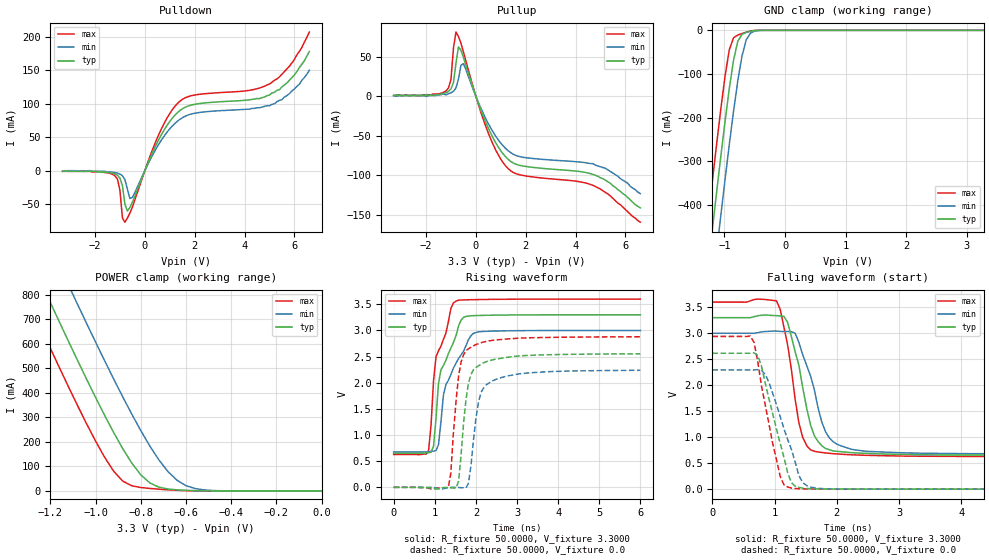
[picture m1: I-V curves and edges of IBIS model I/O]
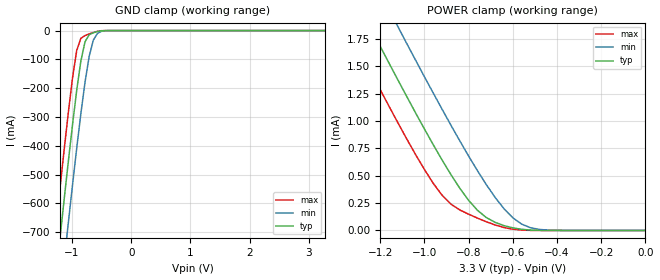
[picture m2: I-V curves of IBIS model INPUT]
| IBIS file created by s2ibis2 version 1.1
| North Carolina State University Electronics Research Laboratory  1995
[IBIS ver]   4.2
[File name]   42s16320f-86400f-32160f_t.ibs
[File Rev]   1.0
[Date]   May 20, 2014
[Copyright]   Copyright ISSI
|   COMPONENT: 32Mx16 SDRAM
[Component]  42s16320
[Manufacturer]  ISSI
[Package]
|   TSOP
| variable   typ   min   max
R_pkg   35.00m   35.00m   35.00m
L_pkg   4.30nH   4.30nH   4.30nH
C_pkg   0.70pF   0.70pF   0.70pF
[Pin]   signal_name   model_name
  1   VDD   POWER
  2   DQ0   I/O
  3   VDDQ   POWER
  4   DQ1   I/O
  5   DQ2   I/O
  6   VSSQ   GND
  7   DQ3   I/O
  8   DQ4   I/O
  9   VDDQ   POWER
 10   DQ5   I/O
 11   DQ6   I/O
 12   VSSQ   GND
 13   DQ7   I/O
 14   VDD   POWER
 15   LDQM   INPUT
 16   /WE   INPUT
 17   /CAS   INPUT
 18   /RAS   INPUT
 19   /CS   INPUT
 20   BA0   INPUT
 21   BA1   INPUT
 22   A10   INPUT
 23   A0   INPUT
 24   A1   INPUT
 25   A2   INPUT
 26   A3   INPUT
 27   VDD   POWER
 28   VSS   GND
 29   A4   INPUT
 30   A5   INPUT
 31   A6   INPUT
 32   A7   INPUT
 33   A8   INPUT
 34   A9   INPUT
 35   A11   INPUT
 36   A12   INPUT
 37   CKE   INPUT
 38   CLK   INPUT
 39   UDQM   INPUT
 40   NC   NC
 41   VSS   GND
 42   DQ8   I/O
 43   VDDQ   POWER
 44   DQ9   I/O
 45   DQ10   I/O
 46   VSSQ   GND
 47   DQ11   I/O
 48   DQ12   I/O
 49   VDDQ   POWER
 50   DQ13   I/O
 51   DQ14   I/O
 52   VSSQ   GND
 53   DQ15   I/O
 54   VSS   GND
|   COMPONENT: 64Mx8 SDRAM
[Component]  42s86400
[Manufacturer]  ISSI
[Package]
|   TSOP
| variable   typ   min   max
R_pkg   35.00m   35.00m   35.00m
L_pkg   4.30nH   4.30nH   4.30nH
C_pkg   0.70pF   0.70pF   0.70pF
[Pin]   signal_name   model_name
  1   VDD   POWER
  2   DQ0   I/O
  3   VDDQ   POWER
  4   DQ1   I/O
  5   DQ2   I/O
  6   VSSQ   GND
  7   DQ3   I/O
  8   DQ4   I/O
  9   VDDQ   POWER
 10   DQ5   I/O
 11   DQ6   I/O
 12   VSSQ   GND
 13   DQ7   I/O
 14   VDD   POWER
 15   LDQM   INPUT
 16   /WE   INPUT
 17   /CAS   INPUT
 18   /RAS   INPUT
 19   /CS   INPUT
 20   BA0   INPUT
 21   BA1   INPUT
 22   A10   INPUT
 23   A0   INPUT
 24   A1   INPUT
 25   A2   INPUT
 26   A3   INPUT
 27   VDD   POWER
 28   VSS   GND
 29   A4   INPUT
 30   A5   INPUT
 31   A6   INPUT
 32   A7   INPUT
 33   A8   INPUT
 34   A9   INPUT
 35   A11   INPUT
 36   A12   INPUT
 37   CKE   INPUT
 38   CLK   INPUT
 39   UDQM   INPUT
 40   NC   NC
 41   VSS   GND
 42   DQ8   I/O
 43   VDDQ   POWER
 44   DQ9   I/O
 45   DQ10   I/O
 46   VSSQ   GND
 47   DQ11   I/O
 48   DQ12   I/O
 49   VDDQ   POWER
 50   DQ13   I/O
 51   DQ14   I/O
 52   VSSQ   GND
 53   DQ15   I/O
 54   VSS   GND
|   Component IS42s32160
[Component]   IS42s32160
[Manufacturer]   ISSI
[Package]
|   TSOP
|variable   typ   min   max
R_pkg   35.00m   35.00m   35.00m
L_pkg   4.30nH   4.30nH   4.30nH
C_pkg   0.70pF   0.70pF   0.70pF
[Pin]  signal_name   model_name   R_pin   L_pin   C_pin
 1   VDD   POWER
  2   DQ0   I/O
  3   VDDQ   POWER
  4   DQ1   I/O
  5   DQ2   I/O
  6   VSSQ   GND
  7   DQ3   I/O
  8   DQ4   I/O
  9   VDDQ   POWER
 10   DQ5   I/O
 11   DQ6   I/O
 12   VSSQ   GND
 13   DQ7   I/O
 14   NC   NC
 15   VDD   POWER
 16   DQM0   INPUT
 17   /WE   INPUT
 18   /CAS   INPUT
 19   /RAS   INPUT
 20   /CS   INPUT
 21   NC   NC
 22   BS0   INPUT
 23   BS1   INPUT
 24   A10   INPUT
 25   A0   INPUT
 26   A1   INPUT
 27   A2   INPUT
 28   DQM2   INPUT
 29   VDD   POWER
 30   NC   NC
 31   DQ16   I/O
 32   VSSQ   GND
 33   DQ17   I/O
 34   DQ18   I/O
 35   VDDQ   POWER
 36   DQ19   I/O
 37   DQ20   I/O
 38   VSSQ   GND
 39   DQ21   I/O
 40   DQ22   I/O
 41   VDDQ   POWER
 42   DQ23   I/O
 43   VDD   POWER
 44   VSS   GND
 45   DQ24   I/O
 46   VSSQ   GND
 47   DQ25   I/O
 48   DQ26   I/O
 49   VDDQ   POWER
 50   DQ27   I/O
 51   DQ28   I/O
 52   VSSQ   GND
 53   DQ29   I/O
 54   DQ30   I/O
 55   VDDQ   POWER
 56   DQ31   I/O
 57   NC   NC
 58   VSS   GND
 59   DQM3   INPUT
 60   A3   INPUT
 61   A4   INPUT
 62   A5   INPUT
 63   A6   INPUT
 64   A7   INPUT
 65   A8   INPUT
 66   A9   INPUT
 67   CKE   INPUT
 68   CLK   INPUT
 69   A12   INPUT
 70   NC   NC
 71   DQM1   INPUT
 72   VSS   GND
 73   NC   NC
 74   DQ8   I/O
 75   VDDQ   POWER
 76   DQ9   I/O
 77   DQ10   I/O
 78   VSSQ   GND
 79   DQ11   I/O
 80   DQ12   I/O
 81   VDDQ   POWER
 82   DQ13   I/O
 83   DQ14   I/O
 84   VSSQ   GND
 85   DQ15   I/O
 86   VSS   GND
| Models and submodels in the file (2): I/O (I/O), INPUT (Input)
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|   Model I/O
[Model]   I/O
Model_type   I/O
Polarity   Non-Inverting
Enable   Active-High
Vinh =  2.4V
Vinl =  0.8V
Vmeas = 1.4V
C_comp   6.00pF   6.00pF   6.00pF
[Temperature Range]   27.0000   0.1050k   -40.0000
[Voltage Range]   3.3000V   3.0000V   3.6000V
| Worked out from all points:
|   slope of the pulldown table from 0 to 0.495 V, typ, clamps not added: 11.8 ohm
|   slope of the pullup table from 0 to 0.495 V, typ, clamps not added: 12.4 ohm
|   GND clamp passes 1 mA (typ) near -0.52 V on its own axis
|   POWER clamp passes 1 mA (typ) near -0.56 V on its own axis
|   rising waveform, R_fixture 50.0000, V_fixture 3.3000: 20-80 % time 439ps typ, 507ps min, 374ps max; typ from 0.653 V to 3.3 V
|   rising waveform, R_fixture 50.0000, V_fixture 0.0: 20-80 % time 212ps typ, 231ps min, 204ps max; typ from 0 V to 2.55 V
|   falling waveform, R_fixture 50.0000, V_fixture 3.3000: 20-80 % time 289ps typ, 339ps min, 233ps max; typ from 3.3 V to 0.653 V
|   falling waveform, R_fixture 50.0000, V_fixture 0.0: 20-80 % time 328ps typ, 373ps min, 284ps max; typ from 2.62 V to 0 V
[Pulldown]
|Voltage   I(typ)   I(min)   I(max)
-3.3V     -1mA       -1mA       -1mA
-1.2V     -4.9mA     -2.9mA     -7.7mA
-1V       -11.1mA    -5.1mA     -29.4mA
-900mV    -22.4mA    -7.6mA     -70.63mA
-800mV    -50.17mA   -13.4mA    -77mA
-700mV    -60.35mA   -27.64mA   -70.79mA
-500mV    -47.29mA   -39.98mA   -54.3mA
500mV     42.16mA    35.86mA    48.91mA
1.3V      86.34mA    73.62mA    100mA
5V        113mA      97mA       129.4mA
5.8V      135mA      115mA      156mA
6.6V      178mA      150mA      207mA
[Pullup]
|Voltage   I(typ)   I(min)   I(max)
-3.3V     1mA        1mA        1mA
-1.2V     4.6mA      1.8mA      6.8mA
-1V       9.4mA      4.4mA      21.4mA
-900mV    17.4mA     6.4mA      61.07mA
-800mV    41.73mA    10.6mA     81.14mA
-700mV    62.38mA    21.5mA     75.45mA
-600mV    58.2mA     39.19mA    67.17mA
-500mV    49.19mA    41.26mA    56.04mA
500mV     -40.32mA   -34.57mA   -46.61mA
1.3V      -79.74mA   -68.87mA   -91.51mA
4.7V      -98.7mA    -85mA      -112.5mA
6.6V      -141mA     -123mA     -159mA
[GND_clamp]
|Voltage   I(typ)   I(min)   I(max)
-3.3V     -3.157A    -3.286A    -3.055A
-1.34V    -628.8mA   -765.9mA   -518.3mA
-1.27V    -541.8mA   -678.9mA   -431.1mA
-1.2V     -455.7mA   -592.7mA   -345.1mA
-1.06V    -287.8mA   -423.2mA   -179.6mA
-920mV    -132.7mA   -260.8mA   -44.06mA
-850mV    -67.99mA   -184.8mA   -16.92mA
-780mV    -24.96mA   -115.3mA   -10.85mA
-710mV    -9.234mA   -58.14mA   -7.303mA
-640mV    -4.801mA   -21.63mA   -4.237mA
-500mV    -529.8uA   -1.542mA   -225.5uA
3.28V     42.05pA    4.883uA    28pA
[POWER_clamp]
|Voltage   I(typ)   I(min)   I(max)
-3.28V    5.098A     5.312A     4.928A
-1.32V    1.009A     1.24A      823.6mA
-1.28V    929.1mA    1.159A     742.6mA
-1.2V     768.8mA    999.2mA    582.5mA
-1.12V    611mA      840.5mA    425.6mA
-1.08V    533.3mA    762.1mA    349.2mA
-960mV    308.9mA    531.6mA    137.7mA
-880mV    173.1mA    384.4mA    40.37mA
-760mV    32.8mA     183.5mA    10.15mA
-640mV    4.342mA    43.79mA    2.515mA
-520mV    385.1uA    4.025mA    82.67uA
0V        43.23pA    874.7pA    32.35pA
[Ramp]
| variable   typ   min   max
dV/dt_r  1.5318/0.2118n   1.3428/0.2310n   1.7274/0.1938n
dV/dt_f  1.5882/0.2790n   1.3929/0.3317n   1.7836/0.2329n
R_load = 50.0000
[Rising Waveform]
R_fixture= 50.0000
V_fixture= 3.3000
V_fixture_min= 3.0000
V_fixture_max= 3.6000
|time   V(typ)   V(min)   V(max)
0s        652.6mV    677.9mV    627mV
850ps     664.5mV    683mV      710.1mV
970ps     787.6mV    691.1mV    2.042V
1.03ns    1.315V     704.4mV    2.494V
1.15ns    2.248V     1.252V     2.7V
1.27ns    2.427V     1.964V     2.948V
1.52ns    2.909V     2.381V     3.561V
1.7ns     3.251V     2.601V     3.584V
2.06ns    3.286V     2.973V     3.59V
6ns       3.299V     2.999V     3.6V
[Rising Waveform]
R_fixture= 50.0000
V_fixture= 0.0
V_fixture_min= 0.0
V_fixture_max= 0.0
|time   V(typ)   V(min)   V(max)
0s        0V         0V         0V
1.33ns    -4.054mV   -6.297mV   643.5uV
1.39ns    -9.512mV   -747.9uV   268.4mV
1.45ns    -12.74mV   1.051mV    1.011V
1.58ns    124.4mV    -4.018mV   2.135V
1.76ns    1.685V     -9.471mV   2.616V
1.88ns    2.157V     417mV      2.678V
2.06ns    2.322V     1.613V     2.747V
2.36ns    2.428V     2.015V     2.806V
6ns       2.553V     2.238V     2.879V
[Falling Waveform]
R_fixture= 50.0000
V_fixture= 3.3000
V_fixture_min= 3.0000
V_fixture_max= 3.6000
|time   V(typ)   V(min)   V(max)
0s        3.3V       3V         3.6V
1.03ns    3.339V     3.042V     3.623V
1.09ns    3.333V     3.036V     3.46V
1.21ns    3.207V     3.033V     2.771V
1.39ns    2.388V     2.826V     1.278V
1.45ns    1.963V     2.591V     1.002V
1.58ns    1.225V     2.168V     756.6mV
1.82ns    782.3mV    1.102V     697.4mV
2.24ns    702.2mV    766.3mV    661.5mV
6ns       653mV      678.5mV    627.3mV
[Falling Waveform]
R_fixture= 50.0000
V_fixture= 0.0
V_fixture_min= 0.0
V_fixture_max= 0.0
|time   V(typ)   V(min)   V(max)
0s        2.615V     2.295V     2.939V
670ps     2.622V     2.294V     2.824V
730ps     2.573V     2.3V       2.452V
850ps     2.04V      2.212V     1.619V
1.09ns    883mV      1.395V     245.7mV
1.21ns    316mV      954.3mV    41.81mV
1.27ns    125mV      766.1mV    20.77mV
1.45ns    19.54mV    126.6mV    6.2mV
1.64ns    6.638mV    25.98mV    3.389mV
6ns       11.13uV    19.88uV    14.44uV
|   Model input
[Model]   INPUT
Model_type   Input
C_comp   3.80pF   3.80pF   3.80pF
Vinh =  2.4V
Vinl =  0.8V
|[Temperature Range]   27.0000   0.1050k   -40.0000
[Voltage Range]   3.3000V   3.0000V   3.6000V
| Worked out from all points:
|   GND clamp passes 1 mA (typ) near -0.50 V on its own axis
|   POWER clamp passes 1 mA (typ) near -1.02 V on its own axis
[GND_clamp]
|Voltage   I(typ)   I(min)   I(max)
-3.3V     -4.952A    -5.147A    -4.798A
-1.34V    -988.3mA   -1.203A    -814.7mA
-1.27V    -851.2mA   -1.066A    -677.4mA
-1.2V     -715.5mA   -930.7mA   -541.8mA
-1.06V    -451mA     -663.7mA   -281.2mA
-920mV    -206.9mA   -408mA     -68.49mA
-850mV    -105.4mA   -288.3mA   -26.74mA
-780mV    -38.65mA   -179.2mA   -17.28mA
-710mV    -14.54mA   -89.79mA   -11.62mA
-640mV    -7.619mA   -33.28mA   -6.726mA
-500mV    -834.3uA   -2.404mA   -353.5uA
3.28V     69.62pA    36.1nA     51.57pA
[POWER_clamp]
|Voltage   I(typ)   I(min)   I(max)
-3.28V    10.1mA     10.57mA    9.718mA
-1.36V    2.309mA    2.8mA      1.911mA
-1.32V    2.152mA    2.643mA    1.753mA
-1.24V    1.839mA    2.329mA    1.441mA
-1.12V    1.376mA    1.863mA    984.4uA
-960mV    783.8uA    1.256mA    431.1uA
-880mV    510.8uA    962uA      240.6uA
-760mV    184.6uA    546.3uA    113uA
-680mV    74.16uA    302.1uA    50.43uA
-600mV    23.86uA    116uA      11.53uA
-480mV    1.208uA    9.572uA    164.3nA
0V        69.09pA    1.362nA    53.88pA
